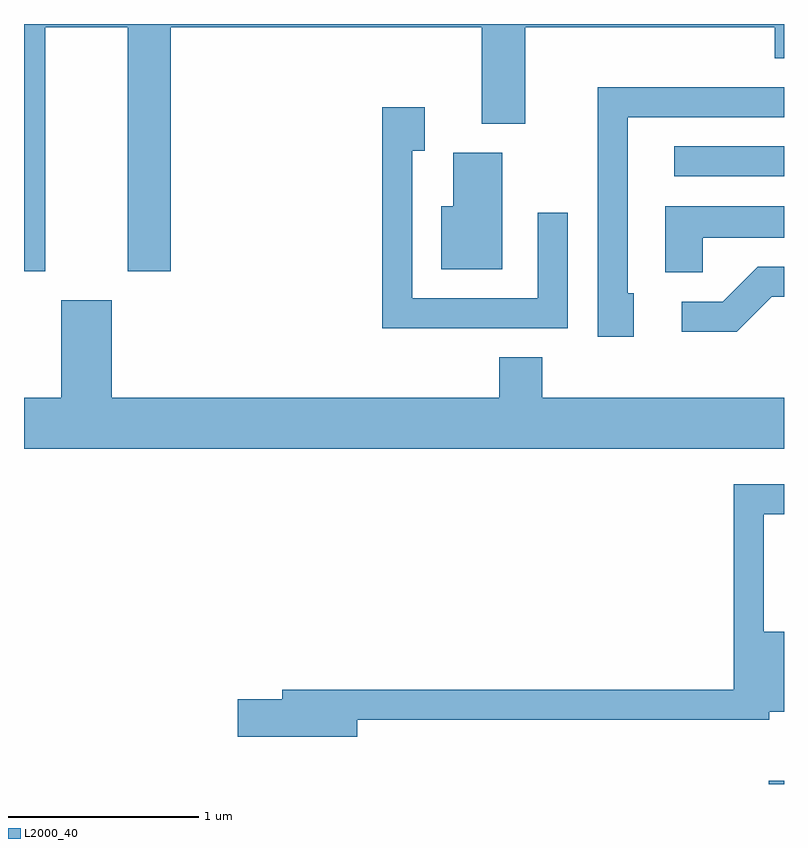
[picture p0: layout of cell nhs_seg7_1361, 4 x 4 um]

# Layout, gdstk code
import gdstk
lib = gdstk.Library(unit=1e-6, precision=1e-09)
def R(c, l, rs):  # rectangles x0, y0, x1, y1
    for r in rs: c.add(gdstk.rectangle(r[:2], r[2:], *l))
def P(c, l, *ps):  # polygons
    for p in ps: c.add(gdstk.Polygon(p, *l))
L2000_40 = (2000, 40)

nhs_seg7_1361 = lib.new_cell('nhs_seg7_1361')
R(nhs_seg7_1361, L2000_40, [(229.531,1790.252,229.611,1790.269), (229.033,1793.451,229.611,1793.609)])
P(nhs_seg7_1361, L2000_40, [(225.724,1794.236),(226.156,1794.236),(226.156,1792.951),(226.384,1792.951),(226.384,1794.236),(228.021,1794.236),(228.021,1793.726),(228.249,1793.726),(228.249,1794.236),(229.561,1794.236),(229.561,1794.071),(229.611,1794.071),(229.611,1794.252),(225.611,1794.252),(225.611,1792.951),(225.724,1792.951)],
  [(228.819,1792.834),(228.789,1792.834),(228.789,1793.761),(229.611,1793.761),(229.611,1793.919),(228.631,1793.919),(228.631,1792.606),(228.819,1792.606)],
  [(228.474,1793.258),(228.316,1793.258),(228.316,1792.809),(227.654,1792.809),(227.654,1793.586),(227.719,1793.586),(227.719,1793.814),(227.496,1793.814),(227.496,1792.651),(228.474,1792.651)],
  [(228.129,1793.574),(227.871,1793.574),(227.871,1793.294),(227.806,1793.294),(227.806,1792.961),(228.129,1792.961)],
  [(229.184,1793.126),(229.611,1793.126),(229.611,1793.294),(228.986,1793.294),(228.986,1792.946),(229.184,1792.946)],
  [(229.547,1792.816),(229.611,1792.816),(229.611,1792.974),(229.474,1792.974),(229.289,1792.789),(229.073,1792.789),(229.073,1792.631),(229.362,1792.631)],
  [(229.611,1792.284),(228.339,1792.284),(228.339,1792.499),(228.111,1792.499),(228.111,1792.284),(226.074,1792.284),(226.074,1792.799),(225.806,1792.799),(225.806,1792.284),(225.611,1792.284),(225.611,1792.016),(229.611,1792.016)],
  [(227.364,1790.591),(229.534,1790.591),(229.534,1790.631),(229.611,1790.631),(229.611,1791.054),(229.504,1791.054),(229.504,1791.671),(229.611,1791.671),(229.611,1791.829),(229.346,1791.829),(229.346,1790.749),(226.971,1790.749),(226.971,1790.699),(226.736,1790.699),(226.736,1790.501),(227.364,1790.501)])

lib.write_gds('nhs_seg7_1361.gds')
